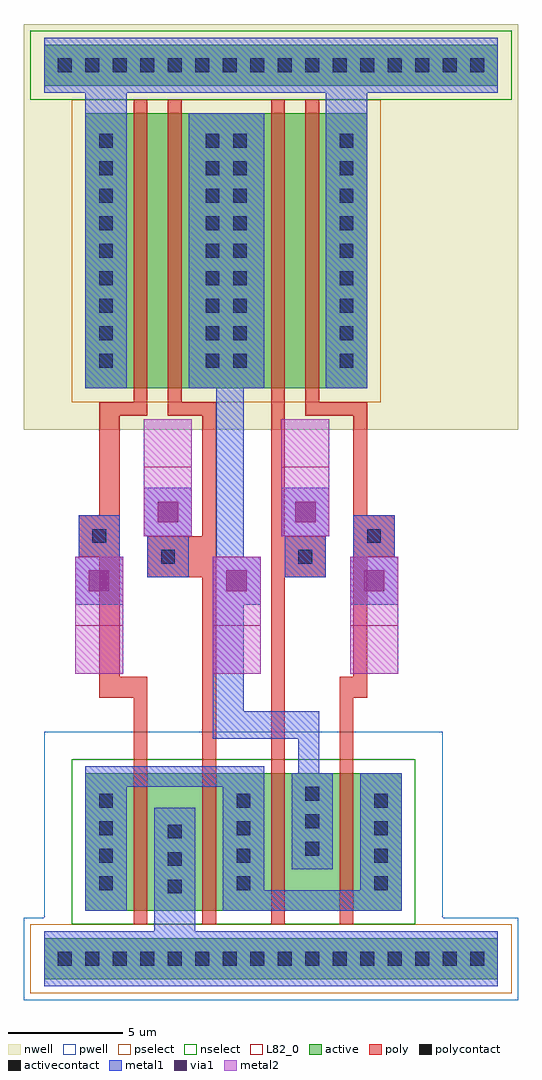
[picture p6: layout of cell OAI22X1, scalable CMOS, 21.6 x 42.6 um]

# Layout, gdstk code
import gdstk
lib = gdstk.Library(unit=1e-6, precision=1e-09)
def R(c, l, rs):  # rectangles x0, y0, x1, y1
    for r in rs: c.add(gdstk.rectangle(r[:2], r[2:], *l))
def A(c, l, x, y, w, h, nx, ny, dx, dy):  # array of equal rectangles
    R(c, l, [(x+i*dx, y+j*dy, x+i*dx+w, y+j*dy+h) for i in range(nx) for j in range(ny)])
pwell = (41, 0)
nwell = (42, 0)
active = (43, 0)
pselect = (44, 0)
nselect = (45, 0)
poly = (46, 0)
polycontact = (47, 0)
activecontact = (48, 0)
metal1 = (49, 0)
via1 = (50, 0)
metal2 = (51, 0)
L82_0 = (82, 0)

oai22x1 = lib.new_cell('OAI22X1')
R(oai22x1, pwell, [(-1.8,-1.8,19.8,1.8), (-0.9,1.8,16.5,9.9)])
R(oai22x1, nwell, [(-1.8,23.1,19.8,40.8)])
R(oai22x1, active, [(-0.9,-0.9,18.9,0.9), (0.9,2.1,14.7,8.1), (0.9,24.9,13.2,36.9), (-0.9,38.1,18.9,39.9)])
R(oai22x1, pselect, [(-1.5,-1.5,19.5,1.5), (0.3,24.3,13.8,37.5)])
R(oai22x1, nselect, [(0.3,1.5,15.3,8.7), (-1.5,37.5,19.5,40.5)])
R(oai22x1, poly, [(3,1.5,3.6,11.4), (6,1.5,6.6,16.65), (9,1.5,9.6,16.65), (12,1.5,12.6,11.4), (1.5,11.4,3.6,12.3), (12,11.4,13.2,12.3), (1.5,12.3,2.4,17.55), (12.6,12.3,13.2,17.55), (3.6,16.65,6.6,18.45), (9,16.65,11.4,18.45), (0.6,17.55,2.4,19.35), (12.6,17.55,14.4,19.35), (6,18.45,6.6,23.7), (9,18.45,9.6,37.5), (1.5,19.35,2.4,23.7), (12.6,19.35,13.2,23.7), (1.5,23.7,3.6,24.3), (4.5,23.7,6.6,24.3), (10.5,23.7,13.2,24.3), (3,24.3,3.6,37.5), (4.5,24.3,5.1,37.5), (10.5,24.3,11.1,37.5)])
R(oai22x1, polycontact, [(4.2,17.25,4.8,17.85), (10.2,17.25,10.8,17.85), (1.2,18.15,1.8,18.75), (13.2,18.15,13.8,18.75)])
A(oai22x1, activecontact, -0.3, -0.3, 0.6, 0.6, 16, 2, 1.2, 39)
A(oai22x1, activecontact, 4.5, 2.85, 0.6, 0.6, 1, 3, 0, 1.2)
A(oai22x1, activecontact, 1.5, 3, 0.6, 0.6, 3, 4, 6, 1.2)
A(oai22x1, activecontact, 10.5, 4.5, 0.6, 0.6, 1, 3, 0, 1.2)
A(oai22x1, activecontact, 1.5, 25.8, 0.6, 0.6, 1, 9, 0, 1.2)
A(oai22x1, activecontact, 6.15, 25.8, 0.6, 0.6, 1, 9, 0, 1.2)
A(oai22x1, activecontact, 7.35, 25.8, 0.6, 0.6, 1, 9, 0, 1.2)
A(oai22x1, activecontact, 12, 25.8, 0.6, 0.6, 1, 9, 0, 1.2)
A(oai22x1, metal1, 0.45, 15.45, 2.1, 2.1, 3, 1, 6, 0)
R(oai22x1, metal1, [(-0.9,-1.2,18.9,1.2), (3.9,1.2,5.7,6.6), (0.9,2.1,2.7,7.5), (6.9,2.1,14.7,3), (6.9,3,8.7,7.5), (12.9,3,14.7,8.1), (9.9,3.9,11.7,8.1), (0.9,7.5,8.7,8.4), (10.2,8.1,11.1,9.6), (6.45,9.6,11.1,10.8), (6.45,10.8,7.8,15.45), (3.6,16.65,5.4,18.45), (9.6,16.65,11.4,18.45), (0.6,17.55,2.4,19.35), (6.6,17.55,7.8,24.9), (12.6,17.55,14.4,19.35), (3.45,18.45,5.55,20.55), (9.45,18.45,11.55,20.55), (0.9,24.9,2.7,37.8), (5.4,24.9,8.7,36.9), (11.4,24.9,13.2,37.8), (-0.9,37.8,18.9,40.2)])
A(oai22x1, via1, 1.05, 16.05, 0.9, 0.9, 3, 1, 6, 0)
R(oai22x1, via1, [(4.05,19.05,4.95,19.95), (10.05,19.05,10.95,19.95)])
A(oai22x1, metal2, 0.45, 12.45, 2.1, 5.1, 3, 1, 6, 0)
R(oai22x1, metal2, [(3.45,18.45,5.55,23.55), (9.45,18.45,11.55,23.55)])
A(oai22x1, L82_0, 0.45, 12.45, 2.1, 2.1, 3, 1, 6, 0)
R(oai22x1, L82_0, [(3.45,21.45,5.55,23.55), (9.45,21.45,11.55,23.55)])

lib.write_gds('OAI22X1.gds')
